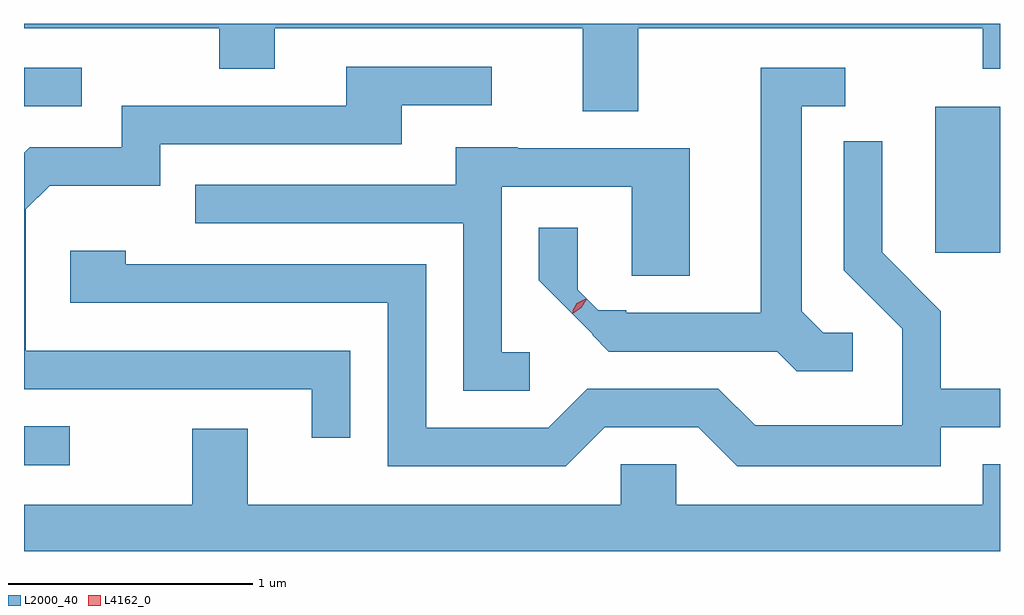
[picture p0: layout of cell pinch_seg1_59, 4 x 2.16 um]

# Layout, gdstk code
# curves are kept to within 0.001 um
import gdstk
lib = gdstk.Library(unit=1e-6, precision=1e-09)
def R(c, l, rs):  # rectangles x0, y0, x1, y1
    for r in rs: c.add(gdstk.rectangle(r[:2], r[2:], *l))
def P(c, l, *ps):  # polygons
    for p in ps: c.add(gdstk.Polygon(p, *l))
L2000_40 = (2000, 40)
L4162_0 = (4162, 0)

pinch_seg1_59 = lib.new_cell('pinch_seg1_59')
R(pinch_seg1_59, L2000_40, [(1025.901,840.066,1026.088,840.224), (1029.636,840.936,1029.901,841.534), (1025.901,841.536,1026.138,841.694)])
P(pinch_seg1_59, L2000_40, [(1028.419,841.856),(1029.831,841.856),(1029.831,841.691),(1029.901,841.691),(1029.901,841.875),(1025.901,841.875),(1025.901,841.856),(1026.701,841.856),(1026.701,841.691),(1026.929,841.691),(1026.929,841.856),(1028.191,841.856),(1028.191,841.516),(1028.419,841.516)],
  [(1027.239,840.534),(1025.909,840.534),(1025.909,841.114),(1026.007,841.211),(1026.459,841.211),(1026.459,841.381),(1027.449,841.381),(1027.449,841.541),(1027.818,841.541),(1027.818,841.699),(1027.221,841.699),(1027.221,841.539),(1026.301,841.539),(1026.301,841.369),(1025.924,841.369),(1025.901,841.346),(1025.901,840.376),(1027.081,840.376),(1027.081,840.178),(1027.239,840.178)],
  [(1029.298,840.609),(1029.177,840.609),(1029.089,840.697),(1029.089,841.536),(1029.267,841.536),(1029.267,841.694),(1028.921,841.694),(1028.921,840.689),(1028.37,840.689),(1028.37,840.7),(1028.255,840.7),(1028.171,840.784),(1028.171,841.038),(1028.011,841.038),(1028.011,840.823),(1028.231,840.602),(1028.229,840.6),(1028.298,840.531),(1028.988,840.531),(1029.069,840.451),(1029.298,840.451)],
  [(1028.282,840.221),(1028.664,840.221),(1028.824,840.061),(1029.659,840.061),(1029.659,840.221),(1029.901,840.221),(1029.901,840.379),(1029.659,840.379),(1029.659,840.697),(1029.419,840.937),(1029.419,841.393),(1029.261,841.393),(1029.261,840.864),(1029.501,840.624),(1029.501,840.229),(1028.897,840.229),(1028.747,840.379),(1028.209,840.379),(1028.049,840.219),(1027.549,840.219),(1027.549,840.889),(1026.319,840.889),(1026.319,840.944),(1026.091,840.944),(1026.091,840.731),(1027.391,840.731),(1027.391,840.061),(1028.122,840.061)],
  [(1027.973,840.529),(1027.859,840.529),(1027.859,841.206),(1028.391,841.206),(1028.391,840.841),(1028.629,840.841),(1028.629,841.364),(1027.925,841.364),(1027.925,841.369),(1027.671,841.369),(1027.671,841.214),(1026.603,841.214),(1026.603,841.056),(1027.701,841.056),(1027.701,840.371),(1027.973,840.371)],
  [(1029.901,840.069),(1029.831,840.069),(1029.831,839.904),(1028.574,839.904),(1028.574,840.069),(1028.346,840.069),(1028.346,839.904),(1026.819,839.904),(1026.819,840.214),(1026.591,840.214),(1026.591,839.904),(1025.901,839.904),(1025.901,839.712),(1029.901,839.712)])
P(pinch_seg1_59, L4162_0, [(1028.148,840.686),(1028.148,840.687),(1028.171,840.724),(1028.207,840.747),(1028.208,840.747),(1028.208,840.746),(1028.185,840.71),(1028.149,840.686)],
  [(1028.148,840.696),(1028.148,840.697),(1028.167,840.728),(1028.2,840.745),(1028.201,840.745),(1028.201,840.744),(1028.181,840.713),(1028.148,840.696)])

lib.write_gds('pinch_seg1_59.gds')
